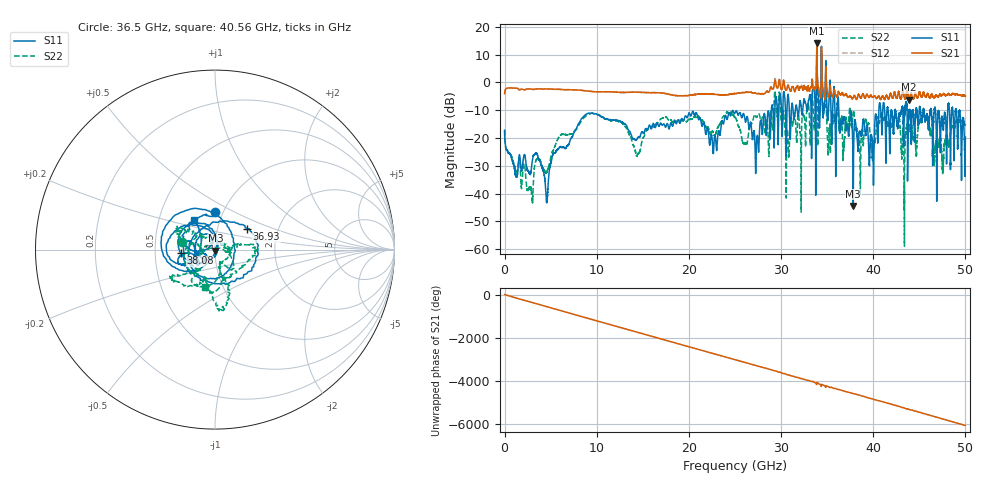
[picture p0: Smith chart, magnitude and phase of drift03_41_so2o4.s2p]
!Created with skrf (http://scikit-rf.org).
# Hz S RI R 50.0
!freq ReS11 ImS11 ReS21 ImS21 ReS12 ImS12 ReS22 ImS22
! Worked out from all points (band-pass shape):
!   10001 points, 300 kHz to 50 GHz, reference 50 ohm
!   highest |S21| = 14.21 dB at 33.88 GHz (marker M1); lowest = -6.2 dB at 43.87 GHz (marker M2)
!   |S21| within 3 dB of the highest: 33.86893 GHz to 33.88881 GHz (19.88 MHz wide, 0.0587 % of centre); 34.37673 GHz to 34.3898 GHz (13.07 MHz wide, 0.038 % of centre)
!   lowest |S11| = -44.4 dB at 37.83 GHz (marker M3), VSWR 1.01, Z = 50.3 - j0.542 ohm
!   |S11| at or under -10 dB: start of sweep to 28.94 GHz; 36.27 GHz to 40.61 GHz (4.339 GHz wide, 11.3 % of centre); 46.75 GHz to 48.08 GHz (1.332 GHz wide, 2.81 % of centre) (the widest 3 of 64)
!   |S22| runs from -58.9 to 11.0 dB; largest |S21 - S12| = 0.81
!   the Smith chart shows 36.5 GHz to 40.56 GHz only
!   S11 on the Smith chart (normalised r, x): 36.5 GHz: 0.92, +0.40; 36.93 GHz: 1.38, +0.34; 38.08 GHz: 0.68, -0.03; 40.56 GHz: 0.75, +0.26
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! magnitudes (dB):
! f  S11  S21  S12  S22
! 300 kHz  -17.3  -4.0  -4.0  -17.1
! 2.82 GHz  -32.7  -2.4  -2.4  -38.0
! 4.555 GHz  -43.3  -2.3  -2.3  -32.2
! 8.335 GHz  -13.1  -2.8  -2.8  -13.9
! 14.44 GHz  -19.9  -3.5  -3.5  -26.2
! 16.67 GHz  -15.4  -3.7  -3.7  -14.3
! 22.82 GHz  -19.3  -4.3  -4.3  -19.1
! 25 GHz  -11.0  -4.0  -4.0  -12.5
! 27.39 GHz  -19.4  -4.1  -4.1  -12.4
! 29.6 GHz  -10.4  -2.0  -2.1  -11.7
! 30.7 GHz  -5.5  -1.4  -1.4  -17.2
! 33.34 GHz  -13.8  -0.5  -0.5  -7.3
! 33.88 GHz  15.1  14.2  13.9  10.7
! 36.5 GHz  -13.7  -4.4  -4.4  -14.6
! 36.93 GHz  -13.5  -4.5  -4.6  -17.9
! 37.83 GHz  -44.4  -5.5  -5.6  -11.3
! 38.08 GHz  -14.3  -5.4  -5.5  -17.2
! 40.56 GHz  -13.9  -4.9  -5.0  -13.2
! 41.67 GHz  -12.1  -6.0  -5.9  -15.2
! 43.87 GHz  -10.2  -6.2  -6.1  -17.0
! 47.58 GHz  -16.3  -4.3  -4.3  -28.8
! 50 GHz  -19.6  -4.9  -4.9  -15.1
